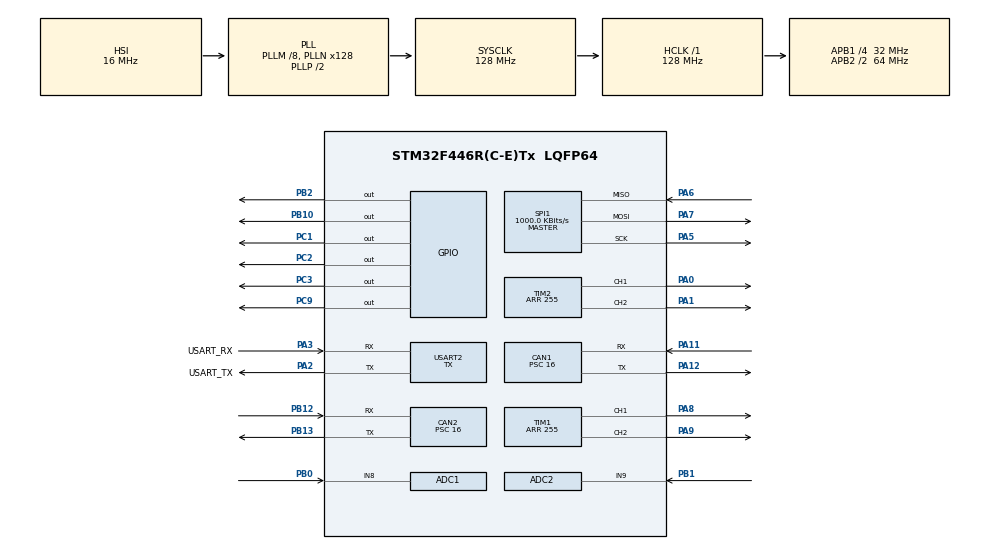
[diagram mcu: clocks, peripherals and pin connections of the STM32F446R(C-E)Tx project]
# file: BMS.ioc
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ADC1.Channel-0\#ChannelRegularConversion=ADC_CHANNEL_8
ADC1.NbrOfConversionFlag=1
ADC1.Rank-0\#ChannelRegularConversion=1
ADC1.SamplingTime-0\#ChannelRegularConversion=ADC_SAMPLETIME_3CYCLES
ADC1.master=1
ADC2.Channel-0\#ChannelRegularConversion=ADC_CHANNEL_9
ADC2.NbrOfConversionFlag=1
ADC2.Rank-0\#ChannelRegularConversion=1
ADC2.SamplingTime-0\#ChannelRegularConversion=ADC_SAMPLETIME_3CYCLES
CAN1.BS1=CAN_BS1_2TQ
CAN1.CalculateBaudRate=500000
CAN1.CalculateTimeBit=2000
CAN1.CalculateTimeQuantum=500.0
CAN1.Prescaler=16
CAN2.BS1=CAN_BS1_2TQ
CAN2.CalculateBaudRate=500000
CAN2.CalculateTimeBit=2000
CAN2.CalculateTimeQuantum=500.0
CAN2.Prescaler=16
Mcu.Family=STM32F4
Mcu.Name=STM32F446R(C-E)Tx
Mcu.Package=LQFP64
NVIC.CAN1_RX0_IRQn=true\:0\:0\:false\:false\:true\:true\:true\:true
NVIC.CAN1_RX1_IRQn=true\:0\:0\:false\:false\:true\:true\:true\:true
NVIC.CAN2_RX0_IRQn=true\:0\:0\:false\:false\:true\:true\:true\:true
NVIC.CAN2_RX1_IRQn=true\:0\:0\:false\:false\:true\:true\:true\:true
NVIC.PriorityGroup=NVIC_PRIORITYGROUP_0
PA0-WKUP.Signal=S_TIM2_CH1_ETR
PA1.Signal=S_TIM2_CH2
PA11.Mode=CAN_Activate
PA11.Signal=CAN1_RX
PA12.Mode=CAN_Activate
PA12.Signal=CAN1_TX
PA13.GPIO_Label=TMS
PA13.Mode=Serial_Wire
PA13.Signal=SYS_JTMS-SWDIO
PA14.GPIO_Label=TCK
PA14.Mode=Serial_Wire
PA14.Signal=SYS_JTCK-SWCLK
PA2.GPIO_Label=USART_TX
PA2.Mode=Asynchronous
PA2.Signal=USART2_TX
PA3.GPIO_Label=USART_RX
PA3.Mode=Asynchronous
PA3.Signal=USART2_RX
PA5.Mode=Full_Duplex_Master
PA5.Signal=SPI1_SCK
PA6.Mode=Full_Duplex_Master
PA6.Signal=SPI1_MISO
PA7.Mode=Full_Duplex_Master
PA7.Signal=SPI1_MOSI
PA8.Signal=S_TIM1_CH1
PA9.Signal=S_TIM1_CH2
PB0.Signal=ADCx_IN8
PB1.Signal=ADCx_IN9
PB10.Signal=GPIO_Output
PB12.Mode=CAN_Activate
PB12.Signal=CAN2_RX
PB13.Mode=CAN_Activate
PB13.Signal=CAN2_TX
PB2.Signal=GPIO_Output
PC1.Signal=GPIO_Output
PC2.Signal=GPIO_Output
PC3.Signal=GPIO_Output
PC9.Signal=GPIO_Output
ProjectManager.HeapSize=0x200
ProjectManager.StackSize=0x400
ProjectManager.TargetToolchain=STM32CubeIDE
RCC.48MHZClocksFreq_Value=84000000
RCC.AHBFreq_Value=128000000
RCC.APB1CLKDivider=RCC_HCLK_DIV4
RCC.APB1Freq_Value=32000000
RCC.APB1TimFreq_Value=64000000
RCC.APB2CLKDivider=RCC_HCLK_DIV2
RCC.APB2Freq_Value=64000000
RCC.APB2TimFreq_Value=128000000
RCC.CortexFreq_Value=128000000
RCC.FLatency-AdvancedSettings=FLASH_LATENCY_4
RCC.HCLKFreq_Value=128000000
RCC.HSE_VALUE=8000000
RCC.HSI_VALUE=16000000
RCC.PLLM=8
RCC.PLLN=128
RCC.SYSCLKFreq_VALUE=128000000
RCC.SYSCLKSource=RCC_SYSCLKSOURCE_PLLCLK
RCC.USBFreq_Value=128000000
RCC.VCOOutputFreq_Value=256000000
SH.ADCx_IN8.0=ADC1_IN8,IN8
SH.ADCx_IN9.0=ADC2_IN9,IN9
SH.S_TIM1_CH1.0=TIM1_CH1,PWM Generation1 CH1
SH.S_TIM1_CH2.0=TIM1_CH2,PWM Generation2 CH2
SH.S_TIM2_CH1_ETR.0=TIM2_CH1,PWM Generation1 CH1
SH.S_TIM2_CH2.0=TIM2_CH2,PWM Generation2 CH2
SPI1.BaudRatePrescaler=SPI_BAUDRATEPRESCALER_64
SPI1.CalculateBaudRate=1000.0 KBits/s
SPI1.Direction=SPI_DIRECTION_2LINES
SPI1.Mode=SPI_MODE_MASTER
SPI1.VirtualType=VM_MASTER
TIM1.Channel-PWM\ Generation1\ CH1=TIM_CHANNEL_1
TIM1.Channel-PWM\ Generation2\ CH2=TIM_CHANNEL_2
TIM1.Period=255
TIM2.Channel-PWM\ Generation1\ CH1=TIM_CHANNEL_1
TIM2.Channel-PWM\ Generation2\ CH2=TIM_CHANNEL_2
TIM2.Period=255
TIM4.Prescaler=63
USART2.Mode=MODE_TX
USART2.Parity=PARITY_EVEN
USART2.VirtualMode=VM_ASYNC
VP_TIM1_VS_ClockSourceINT.Mode=Internal
VP_TIM2_VS_ClockSourceINT.Mode=Internal
VP_TIM4_VS_ClockSourceINT.Mode=Internal
board=NUCLEO-F446RE

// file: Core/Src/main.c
/* USER CODE BEGIN Header */
/**
  ******************************************************************************
  * @file           : main.c
  * @brief          : Main program body
  ******************************************************************************
  * @attention
  *
  * Copyright (c) 2023 STMicroelectronics.
  * All rights reserved.
  *
  * This software is licensed under terms that can be found in the LICENSE file
  * in the root directory of this software component.
  * If no LICENSE file comes with this software, it is provided AS-IS.
  *
  ******************************************************************************
  */
/* USER CODE END Header */
#include "main.h"

ADC_HandleTypeDef hadc1;
ADC_HandleTypeDef hadc2;

CAN_HandleTypeDef hcan1;
CAN_HandleTypeDef hcan2;

SPI_HandleTypeDef hspi1;

TIM_HandleTypeDef htim1;
TIM_HandleTypeDef htim2;
TIM_HandleTypeDef htim4;

UART_HandleTypeDef huart2;

void SystemClock_Config(void);
static void MX_GPIO_Init(void);
static void MX_USART2_UART_Init(void);
static void MX_CAN1_Init(void);
static void MX_SPI1_Init(void);
static void MX_CAN2_Init(void);
static void MX_TIM1_Init(void);
static void MX_TIM2_Init(void);
static void MX_TIM4_Init(void);
static void MX_ADC1_Init(void);
static void MX_ADC2_Init(void);

int main(void)
{

  /* MCU Configuration--------------------------------------------------------*/

  /* Reset of all peripherals, Initializes the Flash interface and the Systick. */
  HAL_Init();

  /* Configure the system clock */
  SystemClock_Config();

  /* Initialize all configured peripherals */
  MX_GPIO_Init();
  MX_USART2_UART_Init();
  MX_CAN1_Init();
  MX_SPI1_Init();
  MX_CAN2_Init();
  MX_TIM1_Init();
  MX_TIM2_Init();
  MX_TIM4_Init();
  MX_ADC1_Init();
  MX_ADC2_Init();
  /* USER CODE BEGIN 2 */

  FEB_BMS_AIR_Open();
  FEB_BMS_Shutdown_Startup();
  FEB_BMS_State_Validate();

  FEB_LTC6811_Init();
  FEB_CAN_Init();
  FEB_CAN_Charger_Init();
  FEB_Timer_Init();
  FEB_Fan_Init();

  HAL_Delay(1000);

  /* USER CODE END 2 */

  /* Infinite loop */
  while (1) {

    /* USER CODE BEGIN 3 */

    // *********************** Reset State ***********************
    FEB_LTC6811_Clear_Voltage();
    FEB_LTC6811_Clear_Temperature();

    // *********************** Cell Voltage ***********************
    FEB_LTC6811_Poll_Voltage();
    FEB_LTC6811_Validate_Voltage();
    FEB_LTC6811_UART_Transmit_Voltage();

    // *********************** Cell Temperature ***********************
    FEB_LTC6811_Poll_Temperature();
    FEB_LTC6811_Validate_Temperature();
    FEB_LTC6811_UART_Transmit_Temperature();
//    FEB_LTC6811_CAN_Transmit_Temperature();

    // *********************** IVT ***********************
    FEB_CAN_IVT_Process();
    FEB_CAN_IVT_UART_Transmit();

    // *********************** Cell Balance ***********************
    FEB_LTC6811_Balance_Cells();
    FEB_LTC6811_UART_Transmit_Discharge();

    // *********************** Charger ***********************
    FEB_CAN_Charger_Process(&hcan1);
    FEB_CAN_Charger_UART_Transmit();
    if (FEB_CAN_CHARGER_STATE) {
    	FEB_BMS_AIR_Close();
    }

    // *********************** Fan ***********************
//    FEB_Fan_Process();

    // *********************** Inverter ***********************
//    FEB_CAN_Inverter_Process();

    if (FEB_CAN_CHARGER_STATE == 1) {
      HAL_Delay(1000);	// 1Hz
    } else {
      HAL_Delay(200);		// 5Hz
    }
  }
  /* USER CODE END 3 */
}

void SystemClock_Config(void)
{
  RCC_OscInitTypeDef RCC_OscInitStruct = {0};
  RCC_ClkInitTypeDef RCC_ClkInitStruct = {0};

  /** Configure the main internal regulator output voltage
  */
  __HAL_RCC_PWR_CLK_ENABLE();
  __HAL_PWR_VOLTAGESCALING_CONFIG(PWR_REGULATOR_VOLTAGE_SCALE2);

  /** Initializes the RCC Oscillators according to the specified parameters
  * in the RCC_OscInitTypeDef structure.
  */
  RCC_OscInitStruct.OscillatorType = RCC_OSCILLATORTYPE_HSI;
  RCC_OscInitStruct.HSIState = RCC_HSI_ON;
  RCC_OscInitStruct.HSICalibrationValue = RCC_HSICALIBRATION_DEFAULT;
  RCC_OscInitStruct.PLL.PLLState = RCC_PLL_ON;
  RCC_OscInitStruct.PLL.PLLSource = RCC_PLLSOURCE_HSI;
  RCC_OscInitStruct.PLL.PLLM = 8;
  RCC_OscInitStruct.PLL.PLLN = 128;
  RCC_OscInitStruct.PLL.PLLP = RCC_PLLP_DIV2;
  RCC_OscInitStruct.PLL.PLLQ = 2;
  RCC_OscInitStruct.PLL.PLLR = 2;
  if (HAL_RCC_OscConfig(&RCC_OscInitStruct) != HAL_OK)
  {
    Error_Handler();
  }

  /** Initializes the CPU, AHB and APB buses clocks
  */
  RCC_ClkInitStruct.ClockType = RCC_CLOCKTYPE_HCLK|RCC_CLOCKTYPE_SYSCLK
                              |RCC_CLOCKTYPE_PCLK1|RCC_CLOCKTYPE_PCLK2;
  RCC_ClkInitStruct.SYSCLKSource = RCC_SYSCLKSOURCE_PLLCLK;
  RCC_ClkInitStruct.AHBCLKDivider = RCC_SYSCLK_DIV1;
  RCC_ClkInitStruct.APB1CLKDivider = RCC_HCLK_DIV4;
  RCC_ClkInitStruct.APB2CLKDivider = RCC_HCLK_DIV2;

  if (HAL_RCC_ClockConfig(&RCC_ClkInitStruct, FLASH_LATENCY_4) != HAL_OK)
  {
    Error_Handler();
  }
}

static void MX_ADC1_Init(void)
{

  ADC_ChannelConfTypeDef sConfig = {0};

  /** Configure the global features of the ADC (Clock, Resolution, Data Alignment and number of conversion)
  */
  hadc1.Instance = ADC1;
  hadc1.Init.ClockPrescaler = ADC_CLOCK_SYNC_PCLK_DIV2;
  hadc1.Init.Resolution = ADC_RESOLUTION_12B;
  hadc1.Init.ScanConvMode = DISABLE;
  hadc1.Init.ContinuousConvMode = DISABLE;
  hadc1.Init.DiscontinuousConvMode = DISABLE;
  hadc1.Init.ExternalTrigConvEdge = ADC_EXTERNALTRIGCONVEDGE_NONE;
  hadc1.Init.ExternalTrigConv = ADC_SOFTWARE_START;
  hadc1.Init.DataAlign = ADC_DATAALIGN_RIGHT;
  hadc1.Init.NbrOfConversion = 1;
  hadc1.Init.DMAContinuousRequests = DISABLE;
  hadc1.Init.EOCSelection = ADC_EOC_SINGLE_CONV;
  if (HAL_ADC_Init(&hadc1) != HAL_OK)
  {
    Error_Handler();
  }

  /** Configure for the selected ADC regular channel its corresponding rank in the sequencer and its sample time.
  */
  sConfig.Channel = ADC_CHANNEL_8;
  sConfig.Rank = 1;
  sConfig.SamplingTime = ADC_SAMPLETIME_3CYCLES;
  if (HAL_ADC_ConfigChannel(&hadc1, &sConfig) != HAL_OK)
  {
    Error_Handler();
  }

}

static void MX_ADC2_Init(void)
{

  ADC_ChannelConfTypeDef sConfig = {0};

  /** Configure the global features of the ADC (Clock, Resolution, Data Alignment and number of conversion)
  */
  hadc2.Instance = ADC2;
  hadc2.Init.ClockPrescaler = ADC_CLOCK_SYNC_PCLK_DIV2;
  hadc2.Init.Resolution = ADC_RESOLUTION_12B;
  hadc2.Init.ScanConvMode = DISABLE;
  hadc2.Init.ContinuousConvMode = DISABLE;
  hadc2.Init.DiscontinuousConvMode = DISABLE;
  hadc2.Init.ExternalTrigConvEdge = ADC_EXTERNALTRIGCONVEDGE_NONE;
  hadc2.Init.ExternalTrigConv = ADC_SOFTWARE_START;
  hadc2.Init.DataAlign = ADC_DATAALIGN_RIGHT;
  hadc2.Init.NbrOfConversion = 1;
  hadc2.Init.DMAContinuousRequests = DISABLE;
  hadc2.Init.EOCSelection = ADC_EOC_SINGLE_CONV;
  if (HAL_ADC_Init(&hadc2) != HAL_OK)
  {
    Error_Handler();
  }

  /** Configure for the selected ADC regular channel its corresponding rank in the sequencer and its sample time.
  */
  sConfig.Channel = ADC_CHANNEL_9;
  sConfig.Rank = 1;
  sConfig.SamplingTime = ADC_SAMPLETIME_3CYCLES;
  if (HAL_ADC_ConfigChannel(&hadc2, &sConfig) != HAL_OK)
  {
    Error_Handler();
  }

}

static void MX_CAN1_Init(void)
{

  hcan1.Instance = CAN1;
  hcan1.Init.Prescaler = 16;
  hcan1.Init.Mode = CAN_MODE_NORMAL;
  hcan1.Init.SyncJumpWidth = CAN_SJW_1TQ;
  hcan1.Init.TimeSeg1 = CAN_BS1_2TQ;
  hcan1.Init.TimeSeg2 = CAN_BS2_1TQ;
  hcan1.Init.TimeTriggeredMode = DISABLE;
  hcan1.Init.AutoBusOff = DISABLE;
  hcan1.Init.AutoWakeUp = DISABLE;
  hcan1.Init.AutoRetransmission = DISABLE;
  hcan1.Init.ReceiveFifoLocked = DISABLE;
  hcan1.Init.TransmitFifoPriority = DISABLE;
  if (HAL_CAN_Init(&hcan1) != HAL_OK)
  {
    Error_Handler();
  }

}

static void MX_CAN2_Init(void)
{

  hcan2.Instance = CAN2;
  hcan2.Init.Prescaler = 16;
  hcan2.Init.Mode = CAN_MODE_NORMAL;
  hcan2.Init.SyncJumpWidth = CAN_SJW_1TQ;
  hcan2.Init.TimeSeg1 = CAN_BS1_2TQ;
  hcan2.Init.TimeSeg2 = CAN_BS2_1TQ;
  hcan2.Init.TimeTriggeredMode = DISABLE;
  hcan2.Init.AutoBusOff = DISABLE;
  hcan2.Init.AutoWakeUp = DISABLE;
  hcan2.Init.AutoRetransmission = DISABLE;
  hcan2.Init.ReceiveFifoLocked = DISABLE;
  hcan2.Init.TransmitFifoPriority = DISABLE;
  if (HAL_CAN_Init(&hcan2) != HAL_OK)
  {
    Error_Handler();
  }

}

static void MX_SPI1_Init(void)
{

  /* SPI1 parameter configuration*/
  hspi1.Instance = SPI1;
  hspi1.Init.Mode = SPI_MODE_MASTER;
  hspi1.Init.Direction = SPI_DIRECTION_2LINES;
  hspi1.Init.DataSize = SPI_DATASIZE_8BIT;
  hspi1.Init.CLKPolarity = SPI_POLARITY_LOW;
  hspi1.Init.CLKPhase = SPI_PHASE_1EDGE;
  hspi1.Init.NSS = SPI_NSS_SOFT;
  hspi1.Init.BaudRatePrescaler = SPI_BAUDRATEPRESCALER_64;
  hspi1.Init.FirstBit = SPI_FIRSTBIT_MSB;
  hspi1.Init.TIMode = SPI_TIMODE_DISABLE;
  hspi1.Init.CRCCalculation = SPI_CRCCALCULATION_DISABLE;
  hspi1.Init.CRCPolynomial = 10;
  if (HAL_SPI_Init(&hspi1) != HAL_OK)
  {
    Error_Handler();
  }

}

static void MX_TIM1_Init(void)
{

  TIM_ClockConfigTypeDef sClockSourceConfig = {0};
  TIM_MasterConfigTypeDef sMasterConfig = {0};
  TIM_OC_InitTypeDef sConfigOC = {0};
  TIM_BreakDeadTimeConfigTypeDef sBreakDeadTimeConfig = {0};

  htim1.Instance = TIM1;
  htim1.Init.Prescaler = 0;
  htim1.Init.CounterMode = TIM_COUNTERMODE_UP;
  htim1.Init.Period = 255;
  htim1.Init.ClockDivision = TIM_CLOCKDIVISION_DIV1;
  htim1.Init.RepetitionCounter = 0;
  htim1.Init.AutoReloadPreload = TIM_AUTORELOAD_PRELOAD_DISABLE;
  if (HAL_TIM_Base_Init(&htim1) != HAL_OK)
  {
    Error_Handler();
  }
  sClockSourceConfig.ClockSource = TIM_CLOCKSOURCE_INTERNAL;
  if (HAL_TIM_ConfigClockSource(&htim1, &sClockSourceConfig) != HAL_OK)
  {
    Error_Handler();
  }
  if (HAL_TIM_PWM_Init(&htim1) != HAL_OK)
  {
    Error_Handler();
  }
  sMasterConfig.MasterOutputTrigger = TIM_TRGO_RESET;
  sMasterConfig.MasterSlaveMode = TIM_MASTERSLAVEMODE_DISABLE;
  if (HAL_TIMEx_MasterConfigSynchronization(&htim1, &sMasterConfig) != HAL_OK)
  {
    Error_Handler();
  }
  sConfigOC.OCMode = TIM_OCMODE_PWM1;
  sConfigOC.Pulse = 0;
  sConfigOC.OCPolarity = TIM_OCPOLARITY_HIGH;
  sConfigOC.OCNPolarity = TIM_OCNPOLARITY_HIGH;
  sConfigOC.OCFastMode = TIM_OCFAST_DISABLE;
  sConfigOC.OCIdleState = TIM_OCIDLESTATE_RESET;
  sConfigOC.OCNIdleState = TIM_OCNIDLESTATE_RESET;
  if (HAL_TIM_PWM_ConfigChannel(&htim1, &sConfigOC, TIM_CHANNEL_1) != HAL_OK)
  {
    Error_Handler();
  }
  if (HAL_TIM_PWM_ConfigChannel(&htim1, &sConfigOC, TIM_CHANNEL_2) != HAL_OK)
  {
    Error_Handler();
  }
  sBreakDeadTimeConfig.OffStateRunMode = TIM_OSSR_DISABLE;
  sBreakDeadTimeConfig.OffStateIDLEMode = TIM_OSSI_DISABLE;
  sBreakDeadTimeConfig.LockLevel = TIM_LOCKLEVEL_OFF;
  sBreakDeadTimeConfig.DeadTime = 0;
  sBreakDeadTimeConfig.BreakState = TIM_BREAK_DISABLE;
  sBreakDeadTimeConfig.BreakPolarity = TIM_BREAKPOLARITY_HIGH;
  sBreakDeadTimeConfig.AutomaticOutput = TIM_AUTOMATICOUTPUT_DISABLE;
  if (HAL_TIMEx_ConfigBreakDeadTime(&htim1, &sBreakDeadTimeConfig) != HAL_OK)
  {
    Error_Handler();
  }
  HAL_TIM_MspPostInit(&htim1);

}

static void MX_TIM2_Init(void)
{

  TIM_ClockConfigTypeDef sClockSourceConfig = {0};
  TIM_MasterConfigTypeDef sMasterConfig = {0};
  TIM_OC_InitTypeDef sConfigOC = {0};

  htim2.Instance = TIM2;
  htim2.Init.Prescaler = 0;
  htim2.Init.CounterMode = TIM_COUNTERMODE_UP;
  htim2.Init.Period = 255;
  htim2.Init.ClockDivision = TIM_CLOCKDIVISION_DIV1;
  htim2.Init.AutoReloadPreload = TIM_AUTORELOAD_PRELOAD_DISABLE;
  if (HAL_TIM_Base_Init(&htim2) != HAL_OK)
  {
    Error_Handler();
  }
  sClockSourceConfig.ClockSource = TIM_CLOCKSOURCE_INTERNAL;
  if (HAL_TIM_ConfigClockSource(&htim2, &sClockSourceConfig) != HAL_OK)
  {
    Error_Handler();
  }
  if (HAL_TIM_PWM_Init(&htim2) != HAL_OK)
  {
    Error_Handler();
  }
  sMasterConfig.MasterOutputTrigger = TIM_TRGO_RESET;
  sMasterConfig.MasterSlaveMode = TIM_MASTERSLAVEMODE_DISABLE;
  if (HAL_TIMEx_MasterConfigSynchronization(&htim2, &sMasterConfig) != HAL_OK)
  {
    Error_Handler();
  }
  sConfigOC.OCMode = TIM_OCMODE_PWM1;
  sConfigOC.Pulse = 0;
  sConfigOC.OCPolarity = TIM_OCPOLARITY_HIGH;
  sConfigOC.OCFastMode = TIM_OCFAST_DISABLE;
  if (HAL_TIM_PWM_ConfigChannel(&htim2, &sConfigOC, TIM_CHANNEL_1) != HAL_OK)
  {
    Error_Handler();
  }
  if (HAL_TIM_PWM_ConfigChannel(&htim2, &sConfigOC, TIM_CHANNEL_2) != HAL_OK)
  {
    Error_Handler();
  }
  HAL_TIM_MspPostInit(&htim2);

}

static void MX_TIM4_Init(void)
{

  TIM_ClockConfigTypeDef sClockSourceConfig = {0};
  TIM_MasterConfigTypeDef sMasterConfig = {0};

  htim4.Instance = TIM4;
  htim4.Init.Prescaler = 63;
  htim4.Init.CounterMode = TIM_COUNTERMODE_UP;
  htim4.Init.Period = 65535;
  htim4.Init.ClockDivision = TIM_CLOCKDIVISION_DIV1;
  htim4.Init.AutoReloadPreload = TIM_AUTORELOAD_PRELOAD_DISABLE;
  if (HAL_TIM_Base_Init(&htim4) != HAL_OK)
  {
    Error_Handler();
  }
  sClockSourceConfig.ClockSource = TIM_CLOCKSOURCE_INTERNAL;
  if (HAL_TIM_ConfigClockSource(&htim4, &sClockSourceConfig) != HAL_OK)
  {
    Error_Handler();
  }
  sMasterConfig.MasterOutputTrigger = TIM_TRGO_RESET;
  sMasterConfig.MasterSlaveMode = TIM_MASTERSLAVEMODE_DISABLE;
  if (HAL_TIMEx_MasterConfigSynchronization(&htim4, &sMasterConfig) != HAL_OK)
  {
    Error_Handler();
  }

}

static void MX_USART2_UART_Init(void)
{

  huart2.Instance = USART2;
  huart2.Init.BaudRate = 115200;
  huart2.Init.WordLength = UART_WORDLENGTH_8B;
  huart2.Init.StopBits = UART_STOPBITS_1;
  huart2.Init.Parity = UART_PARITY_EVEN;
  huart2.Init.Mode = UART_MODE_TX;
  huart2.Init.HwFlowCtl = UART_HWCONTROL_NONE;
  huart2.Init.OverSampling = UART_OVERSAMPLING_16;
  if (HAL_UART_Init(&huart2) != HAL_OK)
  {
    Error_Handler();
  }

}

static void MX_GPIO_Init(void)
{
  GPIO_InitTypeDef GPIO_InitStruct = {0};

  /* GPIO Ports Clock Enable */
  __HAL_RCC_GPIOC_CLK_ENABLE();
  __HAL_RCC_GPIOA_CLK_ENABLE();
  __HAL_RCC_GPIOB_CLK_ENABLE();

  /*Configure GPIO pin Output Level */
  HAL_GPIO_WritePin(GPIOC, GPIO_PIN_1|GPIO_PIN_2|GPIO_PIN_3|GPIO_PIN_9, GPIO_PIN_RESET);

  /*Configure GPIO pin Output Level */
  HAL_GPIO_WritePin(GPIOB, GPIO_PIN_2|GPIO_PIN_10, GPIO_PIN_RESET);

  /*Configure GPIO pins : PC1 PC2 PC3 PC9 */
  GPIO_InitStruct.Pin = GPIO_PIN_1|GPIO_PIN_2|GPIO_PIN_3|GPIO_PIN_9;
  GPIO_InitStruct.Mode = GPIO_MODE_OUTPUT_PP;
  GPIO_InitStruct.Pull = GPIO_NOPULL;
  GPIO_InitStruct.Speed = GPIO_SPEED_FREQ_LOW;
  HAL_GPIO_Init(GPIOC, &GPIO_InitStruct);

  /*Configure GPIO pins : PB2 PB10 */
  GPIO_InitStruct.Pin = GPIO_PIN_2|GPIO_PIN_10;
  GPIO_InitStruct.Mode = GPIO_MODE_OUTPUT_PP;
  GPIO_InitStruct.Pull = GPIO_NOPULL;
  GPIO_InitStruct.Speed = GPIO_SPEED_FREQ_LOW;
  HAL_GPIO_Init(GPIOB, &GPIO_InitStruct);

}

void Error_Handler(void)
{
  __disable_irq();
  while (1)
  {
  }
}
